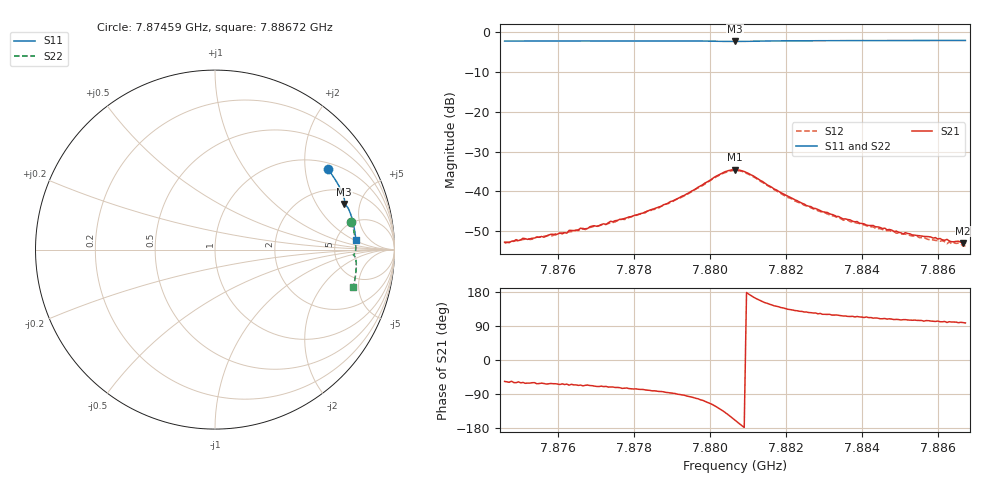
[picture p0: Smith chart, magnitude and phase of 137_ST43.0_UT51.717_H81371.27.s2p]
#  HZ  S  DB  R  50.00
! Rohde & Schwarz Vector Network Analyzer
! Rohde-Schwarz,ZNB20-2Port,1311601062101988,3.16
! Created: UTC 1/12/2023, 6:39:28 PM
! freq[Hz]  db:S11  ang:S11  db:S21  ang:S21  db:S12  ang:S12  db:S22  ang:S22
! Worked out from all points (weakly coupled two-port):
!   201 points, 7.87459 GHz to 7.88672 GHz, reference 50 ohm
!   highest |S21| = -34.52 dB at 7.88065 GHz (marker M1); lowest = -52.9 dB at 7.88666 GHz (marker M2)
!   lowest |S11| = -2.3 dB at 7.88065 GHz (marker M3), VSWR 7.46, Z = 145 + j178 ohm
!   |S11| at or under -10 dB: nowhere
!   |S22| runs from -2.3 to -2.0 dB; largest |S21 - S12| = 0.0012
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7.874588e9  -2.25 35.5  -52.71 -56.6  -53.00 -60.2  -2.21 11.5
7.875801e9  -2.23 32.2  -50.76 -62.0  -51.21 -65.4  -2.16 8.6
7.87665e9  -2.21 29.9  -49.42 -68.3  -49.23 -70.7  -2.14 6.5
7.876711e9  -2.21 29.8  -49.36 -66.8  -49.57 -69.7  -2.13 6.5
7.877803e9  -2.20 26.7  -46.60 -73.9  -46.93 -77.7  -2.11 3.9
7.878652e9  -2.20 24.4  -43.88 -83.0  -44.09 -86.1  -2.11 1.9
7.879319e9  -2.21 22.5  -40.98 -92.9  -41.11 -96.9  -2.11 0.3
7.88035e9  -2.32 19.9  -35.22 -135.3  -35.39 -138.5  -2.22 -2.0
7.880653e9  -2.34 19.5  -34.52 -158.8  -34.69 -162.1  -2.25 -2.2
7.881017e9  -2.30 19.1  -35.51 173.6  -35.71 170.2  -2.21 -2.4
7.882048e9  -2.17 16.4  -41.19 133.8  -41.51 131.3  -2.07 -4.6
7.882716e9  -2.14 14.5  -44.20 124.0  -44.38 120.7  -2.03 -6.2
7.883504e9  -2.13 12.4  -46.91 116.0  -47.22 113.6  -2.00 -8.0
7.884717e9  -2.11 9.2  -49.53 108.8  -49.81 104.7  -1.98 -10.8
7.885081e9  -2.10 8.2  -50.64 106.4  -50.66 103.0  -1.98 -11.5
7.886112e9  -2.10 5.5  -52.12 100.8  -52.33 98.6  -1.97 -13.8
7.886234e9  -2.09 5.2  -52.02 99.0  -53.10 97.5  -1.97 -14.0
7.886294e9  -2.09 5.1  -52.41 101.0  -52.64 97.5  -1.96 -14.2
7.886355e9  -2.09 4.9  -52.61 100.4  -53.13 97.6  -1.96 -14.3
7.886537e9  -2.09 4.4  -52.48 98.4  -52.94 96.9  -1.96 -14.7
7.886658e9  -2.09 4.1  -52.92 98.5  -53.72 96.7  -1.96 -14.9
7.886719e9  -2.09 4.0  -52.89 97.8  -53.59 94.7  -1.96 -15.1
